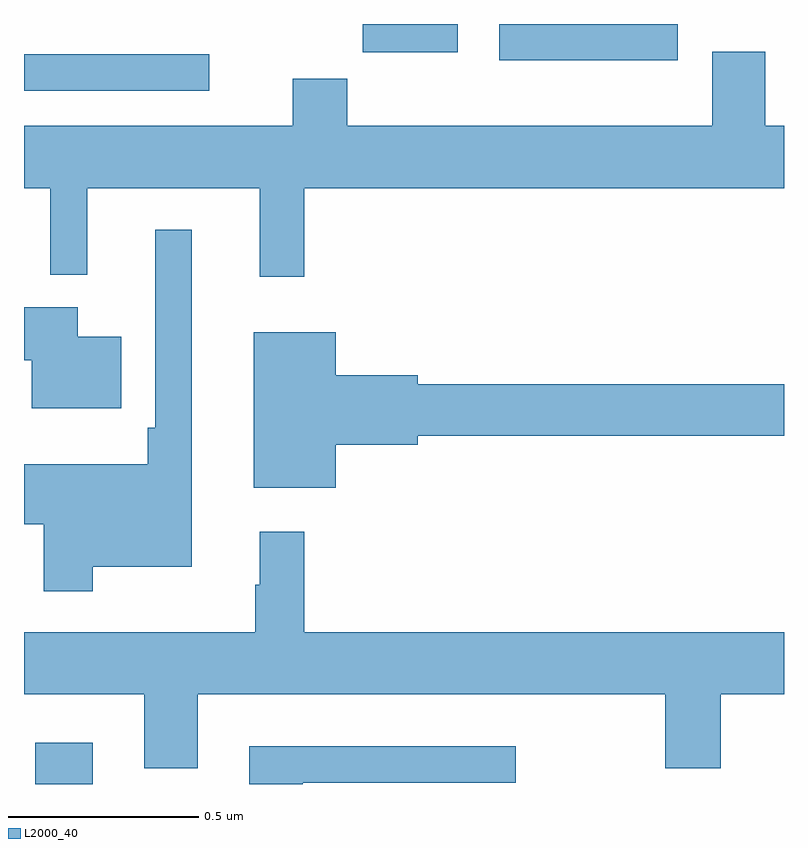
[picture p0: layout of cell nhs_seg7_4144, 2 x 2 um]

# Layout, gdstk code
import gdstk
lib = gdstk.Library(unit=1e-6, precision=1e-09)
def R(c, l, rs):  # rectangles x0, y0, x1, y1
    for r in rs: c.add(gdstk.rectangle(r[:2], r[2:], *l))
def P(c, l, *ps):  # polygons
    for p in ps: c.add(gdstk.Polygon(p, *l))
L2000_40 = (2000, 40)

nhs_seg7_4144 = lib.new_cell('nhs_seg7_4144')
R(nhs_seg7_4144, L2000_40, [(168.029,1047,168.181,1047.109), (168,1048.824,168.487,1048.92), (169.251,1048.904,169.72,1049), (168.892,1048.926,169.141,1049)])
P(nhs_seg7_4144, L2000_40, [(168.737,1048.568),(170,1048.568),(170,1048.732),(169.951,1048.732),(169.951,1048.927),(169.811,1048.927),(169.811,1048.732),(168.851,1048.732),(168.851,1048.856),(168.707,1048.856),(168.707,1048.732),(168,1048.732),(168,1048.568),(168.069,1048.568),(168.069,1048.34),(168.167,1048.34),(168.167,1048.568),(168.62,1048.568),(168.62,1048.335),(168.737,1048.335)],
  [(168.181,1047.572),(168.442,1047.572),(168.442,1048.459),(168.345,1048.459),(168.345,1047.937),(168.325,1047.937),(168.325,1047.841),(168,1047.841),(168,1047.683),(168.052,1047.683),(168.052,1047.507),(168.181,1047.507)],
  [(168.256,1048.177),(168.142,1048.177),(168.142,1048.255),(168,1048.255),(168,1048.115),(168.02,1048.115),(168.02,1047.989),(168.256,1047.989)],
  [(168.82,1047.893),(169.036,1047.893),(169.036,1047.916),(170,1047.916),(170,1048.052),(169.036,1048.052),(169.036,1048.076),(168.82,1048.076),(168.82,1048.189),(168.605,1048.189),(168.605,1047.779),(168.82,1047.779)],
  [(168.457,1047.236),(169.687,1047.236),(169.687,1047.042),(169.834,1047.042),(169.834,1047.236),(170,1047.236),(170,1047.4),(168.737,1047.4),(168.737,1047.664),(168.62,1047.664),(168.62,1047.524),(168.609,1047.524),(168.609,1047.4),(168,1047.4),(168,1047.236),(168.317,1047.236),(168.317,1047.042),(168.457,1047.042)],
  [(168.733,1047.003),(169.294,1047.003),(169.294,1047.1),(168.593,1047.1),(168.593,1047),(168.733,1047)])

lib.write_gds('nhs_seg7_4144.gds')
